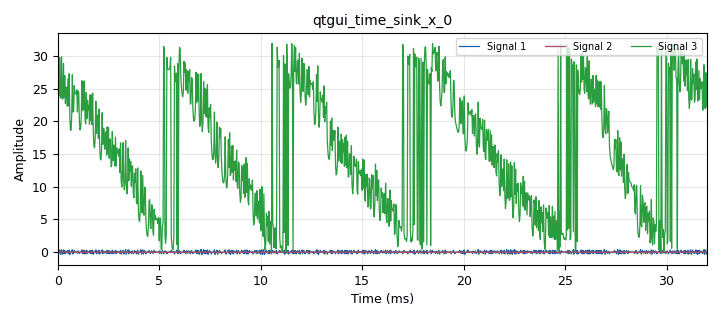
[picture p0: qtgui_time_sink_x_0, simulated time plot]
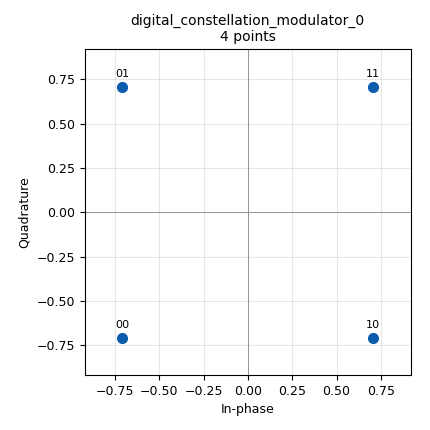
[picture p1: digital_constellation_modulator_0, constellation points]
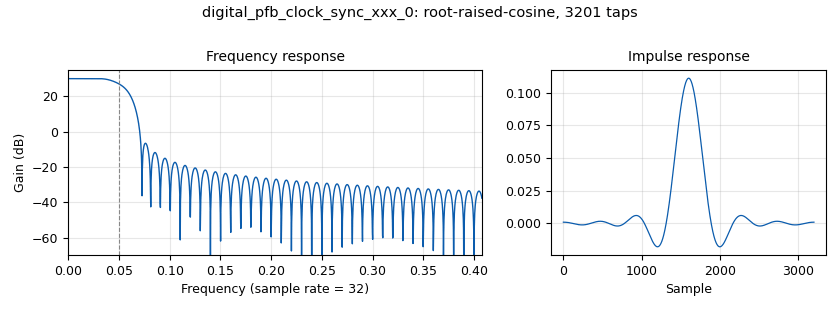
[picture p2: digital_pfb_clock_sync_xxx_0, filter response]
options:
  parameters:
    generate_options: qt_gui
    id: polyphase_clock_sync_demo
    output_language: python
    title: polyphase_clock_sync_demo
  states: {}

blocks:
- name: constellation
  id: variable_constellation_rect
  parameters:
    const_points: '[-1-1j, -1+1j, 1+1j, 1-1j]'
    imag_sect: '2'
    real_sect: '2'
    rot_sym: '4'
    sym_map: '[0, 1, 3, 2]'
    w_imag_sect: '1'
    w_real_sect: '1'
  states: {}
- name: nfilts
  id: variable
  parameters:
    value: '32'
  states: {}
- name: rrc_filter_taps
  id: variable_rrc_filter_taps
  parameters:
    alpha: '0.4'
    gain: '10'
    ntaps: 11*sps
    samp_rate: samp_rate
    sym_rate: samp_rate/sps
  states: {}
- name: samp_rate
  id: variable
  parameters:
    value: '32000'
  states: {}
- name: sps
  id: variable
  parameters:
    value: '10'
  states: {}
- name: srrc_taps
  id: variable
  parameters:
    value: firdes.root_raised_cosine(nfilts, nfilts, 1.0/float(sps), 0.4, 10*sps*nfilts)
  states: {}
- name: analog_random_source_x_0
  id: analog_random_source_x
  parameters:
    max: '256'
    min: '0'
    num_samps: '10000'
    repeat: 'True'
    type: byte
  states: {}
- name: blocks_complex_to_real_0
  id: blocks_complex_to_real
  parameters: {}
  states: {}
- name: blocks_float_to_int_0
  id: blocks_float_to_int
  parameters:
    scale: '1'
  states: {}
- name: blocks_int_to_float_0
  id: blocks_int_to_float
  parameters:
    scale: '1'
  states: {}
- name: blocks_multiply_const_vxx_0
  id: blocks_multiply_const_vxx
  parameters:
    const: '1024'
    type: float
  states: {}
- name: blocks_throttle_0
  id: blocks_throttle
  parameters:
    samples_per_second: samp_rate
    type: byte
  states: {}
- name: channels_channel_model_0
  id: channels_channel_model
  parameters:
    epsilon: '1.0005'
    freq_offset: '0.0'
    noise_voltage: '200e-3'
    seed: '0'
    taps: '1'
  states: {}
- name: digital_constellation_modulator_0
  id: digital_constellation_modulator
  parameters:
    constellation: constellation
    differential: 'False'
    excess_bw: '0.4'
    samples_per_symbol: sps
  states: {}
- name: digital_pfb_clock_sync_xxx_0
  id: digital_pfb_clock_sync_xxx
  parameters:
    filter_size: '32'
    init_phase: '16'
    loop_bw: 2*3.14/100
    max_dev: '1.5'
    osps: '1'
    sps: sps
    taps: srrc_taps
    type: fff
  states: {}
- name: qtgui_const_sink_x_0
  id: qtgui_const_sink_x
  parameters:
    autoscale: 'True'
    size: '2048'
    type: complex
  states: {state: disabled}
- name: qtgui_time_sink_x_0
  id: qtgui_time_sink_x
  parameters:
    autoscale: 'True'
    nconnections: '3'
    size: '1024'
    srate: samp_rate
    type: float
  states: {}
- name: qtgui_time_sink_x_1
  id: qtgui_time_sink_x
  parameters:
    nconnections: '2'
    size: '1024'
    srate: samp_rate
    type: float
  states: {}
- name: tomsok_module_FPGA_polyphase_clock_sync_0
  id: tomsok_module_FPGA_polyphase_clock_sync
  parameters: {}
  states: {}

connections:
- [analog_random_source_x_0, '0', blocks_throttle_0, '0']
- [blocks_complex_to_real_0, '0', blocks_multiply_const_vxx_0, '0']
- [blocks_complex_to_real_0, '0', digital_pfb_clock_sync_xxx_0, '0']
- [blocks_float_to_int_0, '0', tomsok_module_FPGA_polyphase_clock_sync_0, '0']
- [blocks_int_to_float_0, '0', qtgui_time_sink_x_1, '1']
- [blocks_multiply_const_vxx_0, '0', blocks_float_to_int_0, '0']
- [blocks_throttle_0, '0', digital_constellation_modulator_0, '0']
- [channels_channel_model_0, '0', blocks_complex_to_real_0, '0']
- [digital_constellation_modulator_0, '0', channels_channel_model_0, '0']
- [digital_pfb_clock_sync_xxx_0, '0', qtgui_const_sink_x_0, '0']
- [digital_pfb_clock_sync_xxx_0, '0', qtgui_time_sink_x_1, '0']
- [digital_pfb_clock_sync_xxx_0, '1', qtgui_time_sink_x_0, '0']
- [digital_pfb_clock_sync_xxx_0, '2', qtgui_time_sink_x_0, '1']
- [digital_pfb_clock_sync_xxx_0, '3', qtgui_time_sink_x_0, '2']
- [tomsok_module_FPGA_polyphase_clock_sync_0, '0', blocks_int_to_float_0, '0']

metadata:
  file_format: 1
